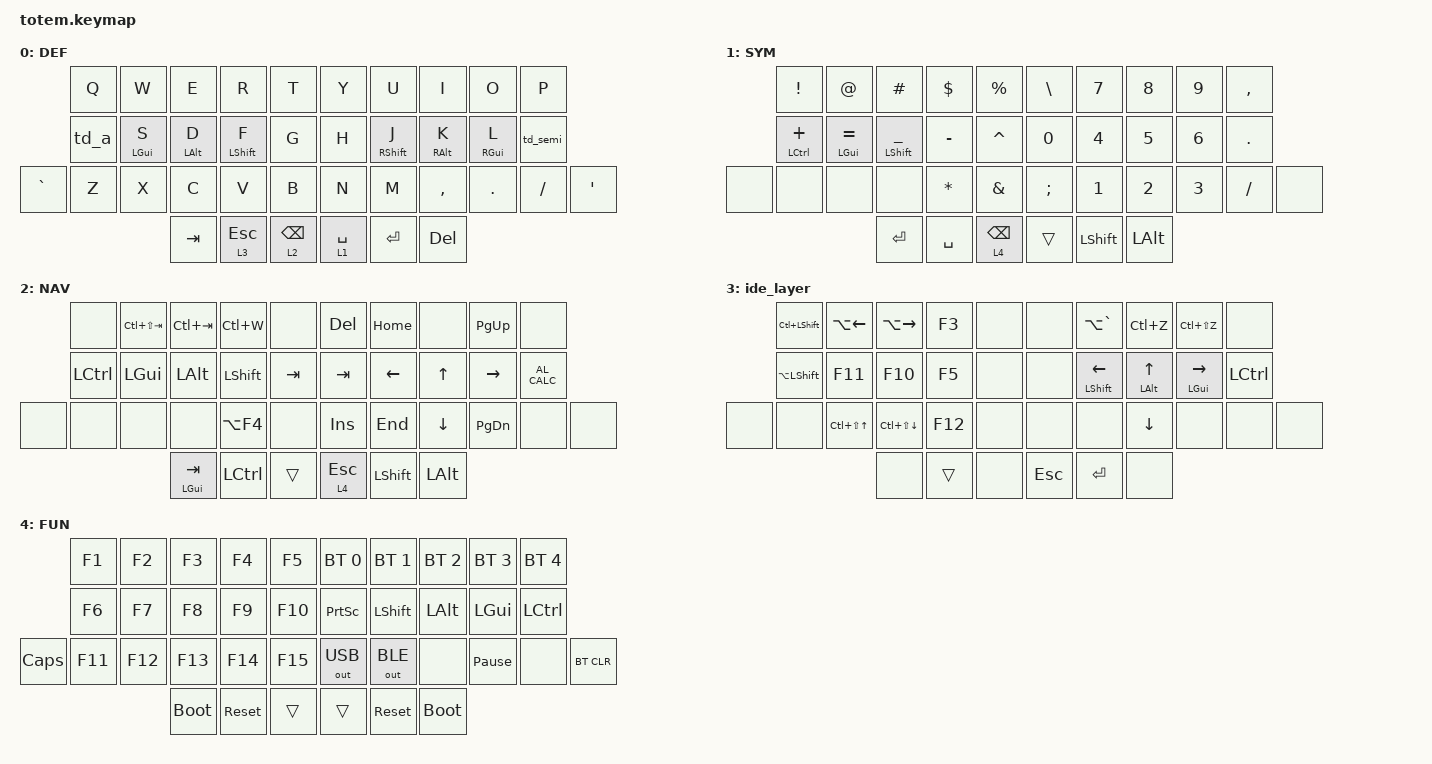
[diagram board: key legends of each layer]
/*
 * TOTEM 38-key ZMK keymap — C++ / C# / Visual Studio optimized
 *
 * ─── BEFORE BUILDING ────────────────────────────────────────────────────────
 * Add zmk-tri-state to your config/west.yml:
 *
 *   manifest:
 *     remotes:
 *       - name: zmkfirmware
 *         url-base: https://github.com/zmkfirmware
 *       - name: dhruvinsh
 *         url-base: https://github.com/dhruvinsh
 *     projects:
 *       - name: zmk
 *         remote: zmkfirmware
 *         revision: main
 *         import: app/west.yml
 *       - name: zmk-tri-state
 *         remote: dhruvinsh
 *         revision: main
 *     self:
 *       path: config
 *
 * ─── KEY POSITION REFERENCE ─────────────────────────────────────────────────
 *
 *   (used by hold-trigger-key-positions and combo key-positions)
 *
 *    0   1   2   3   4       5   6   7   8   9     <- top row (10)
 *   10  11  12  13  14  15  16  17  18  19         <- mid row inner (10)
 *  20                                        31    <- outer mid pinkies
 *       21  22  23  24  25  26  27  28  29  30     <- bot row (10)
 *               32  33  34      35  36  37         <- thumbs (6)
 *
 *    Q   W   E   R   T       Y   U   I   O   P
 *    A   S   D   F   G   H   J   K   L   ;
 *  `                                         '
 *        Z   X   C   V   B   N   M   ,   .   /
 *              Tab Esc Bsp     Spc Ent Del
 *
 * ─── LAYERS ─────────────────────────────────────────────────────────────────
 *   0 DEF  QWERTY + Home Row Mods + tap-dance on A and ;
 *   1 SYM  Symbols (L) + numpad (R)          — hold left-inner thumb (Spc)
 *   2 NAV  Window/tab mgmt (L) + arrows (R)  — hold right-inner thumb (Bsp)
 *   3 FUN  F-keys (L) + modifiers (R)        — hold SYM thumb while NAV active
 *                                               or hold NAV thumb while SYM active
 *
 * ─── HOME ROW MODS ──────────────────────────────────────────────────────────
 *   Left:   A=Ctrl  S=Gui  D=Alt  F=Shift
 *   Right:  J=Shift  K=Alt  L=Gui  ;=Ctrl
 *
 *   Timeless configuration (hold-trigger-on-release + require-prior-idle-ms):
 *   modifier only fires when an opposite-hand key is released while held,
 *   preventing misfires during fast same-hand rolls.
 *
 * ─── TAP-DANCE ───────────────────────────────────────────────────────────────
 *   A : tap = A (Ctrl HRM)   double-tap = ->  (C++ member/ptr access, lambda)
 *   ; : tap = ; (Ctrl HRM)   double-tap = ::  (C++ scope, C# namespaces)
 *
 *   Tap-dance tapping-term (200ms) < HRM tapping-term (280ms): ZMK resolves
 *   tap-dance first, so hold on A still activates Ctrl correctly.
 *
 * ─── ALT+TAB SWAPPER (zmk-tri-state) ────────────────────────────────────────
 *   Combo: Left+Right on NAV layer (positions 16+18, non-adjacent to avoid
 *   accidental trigger during normal arrow navigation).
 *
 *   Behavior:
 *     First combo press  — Alt ON + Tab  → opens Windows switcher
 *     Same combo again   — Tab           → cycles forward (Alt stays held)
 *     Left/Up/Right/Down — navigate switcher (ignored keys, Alt stays held)
 *     Any other key      — Alt OFF, then that key fires normally
 *
 *   This means: Esc cancels, Enter confirms — no extra macros needed.
 */

#include <behaviors.dtsi>
#include <dt-bindings/zmk/bt.h>
#include <dt-bindings/zmk/keys.h>
#include <dt-bindings/zmk/outputs.h>

// ── Layer indices ─────────────────────────────────────────────────────────────

#define DEF 0
#define SYM 1
#define NAV 2
#define FUN 3

// ── Tune built-in behaviors ───────────────────────────────────────────────────
// quick-tap-ms: tapping a layer-tap or mod-tap key twice quickly always sends
// the tap, even if the second tap is held. Makes Bspc/Space repeatable.

&lt { quick-tap-ms = <175>; };

&mt { quick-tap-ms = <175>; };

/ {
    // ════════════════════════════════════════════════════════════════════════════════
    // MACROS
    // ════════════════════════════════════════════════════════════════════════════════

    macros {
        // ->  C++ pointer member access, lambda return type

        m_arrow: m_arrow {
            compatible = "zmk,behavior-macro";
            #binding-cells = <0>;
            wait-ms = <0>;
            tap-ms = <10>;
            bindings = <&kp MINUS &kp GT>;
        };

        // ::  C++ scope resolution, C# fully-qualified names

        m_scope: m_scope {
            compatible = "zmk,behavior-macro";
            #binding-cells = <0>;
            wait-ms = <0>;
            tap-ms = <10>;
            bindings = <&kp COLON &kp COLON>;
        };

        // ==  equality operator

        m_eq: m_eq {
            compatible = "zmk,behavior-macro";
            #binding-cells = <0>;
            wait-ms = <0>;
            tap-ms = <10>;
            bindings = <&kp EQUAL &kp EQUAL>;
        };

        // !=  inequality operator

        m_neq: m_neq {
            compatible = "zmk,behavior-macro";
            #binding-cells = <0>;
            wait-ms = <0>;
            tap-ms = <10>;
            bindings = <&kp EXCL &kp EQUAL>;
        };
    };

    // ════════════════════════════════════════════════════════════════════════════════
    // BEHAVIORS
    // ════════════════════════════════════════════════════════════════════════════════

    behaviors {
        // ── Home Row Mod — LEFT hand ──────────────────────────────────────────
        // Modifier fires only when an opposite-hand (right-side) key is released
        // while this key is held. Safe for fast left-hand rolls.

        hml: hml {
            compatible = "zmk,behavior-hold-tap";
            #binding-cells = <2>;
            flavor = "balanced";
            tapping-term-ms = <280>;
            quick-tap-ms = <175>;
            require-prior-idle-ms = <150>;
            bindings = <&kp>, <&kp>;

            // Right side: top(5-9) mid(15-19) outer-R(31) bot(26-30) thumbs(35-37)

            hold-trigger-key-positions = <5 6 7 8 9 15 16 17 18 19 31 26 27 28 29 30 35 36 37>;
            hold-trigger-on-release;
        };

        // ── Home Row Mod — RIGHT hand ─────────────────────────────────────────
        // Modifier fires only when an opposite-hand (left-side) key is released
        // while this key is held. Safe for fast right-hand rolls.

        hmr: hmr {
            compatible = "zmk,behavior-hold-tap";
            #binding-cells = <2>;
            flavor = "balanced";
            tapping-term-ms = <280>;
            quick-tap-ms = <175>;
            require-prior-idle-ms = <150>;
            bindings = <&kp>, <&kp>;

            // Left side: top(0-4) mid(10-14) outer-L(20) bot(21-25) thumbs(32-34)

            hold-trigger-key-positions = <0 1 2 3 4 10 11 12 13 14 20 21 22 23 24 25 32 33 34>;
            hold-trigger-on-release;
        };

        // ── Tap-dance A ───────────────────────────────────────────────────────
        // Single tap → A  (hml: hold=Ctrl, tap=A)
        // Double-tap → -> (m_arrow macro)

        td_a: td_a {
            compatible = "zmk,behavior-tap-dance";
            #binding-cells = <0>;
            tapping-term-ms = <200>;
            bindings = <&hml LCTRL A>, <&m_arrow>;
        };

        // ── Tap-dance ; ───────────────────────────────────────────────────────
        // Single tap → ;  (hmr: hold=Ctrl, tap=;)
        // Double-tap → :: (m_scope macro)

        td_semi: td_semi {
            compatible = "zmk,behavior-tap-dance";
            #binding-cells = <0>;
            tapping-term-ms = <200>;
            bindings = <&hmr LCTRL SEMI>, <&m_scope>;
        };

        // ── Alt+Tab swapper (zmk-tri-state) ──────────────────────────────────
        // See header comment for full behavior description.
        // ignored-key-positions: Left(16) Up(17) Right(18) Down(28)

        swap: swap {
            compatible = "zmk,behavior-tri-state";
            #binding-cells = <0>;
            bindings = <&kt LALT>, <&kp TAB>, <&kt LALT>;

            ignored-key-positions = <16 17 18 28>;
        };
    };

    // ════════════════════════════════════════════════════════════════════════════════
    // COMBOS
    // ════════════════════════════════════════════════════════════════════════════════

    combos {
        compatible = "zmk,combos";

        // ── Brackets — top row, DEF layer ────────────────────────────────────
        // Adjacent pairs well away from HRM keys — negligible false-trigger risk.
        // Symmetric layout: opening brackets left (moving inward), closing right.
        //   Q+W=[ W+E={ E+R=(       U+I=) I+O=} O+P=]

        combo_lbkt {
            timeout-ms = <50>;
            key-positions = <1 2>;
            bindings = <&kp LBKT>;
            layers = <0>;
        };

        combo_lbrc {
            timeout-ms = <50>;
            key-positions = <24 23>;
            bindings = <&kp LBRC>;
            layers = <0>;
        };

        combo_lpar {
            timeout-ms = <50>;
            key-positions = <2 3>;
            bindings = <&kp LPAR>;
            layers = <0>;
        };

        combo_rpar {
            timeout-ms = <50>;
            key-positions = <6 7>;
            bindings = <&kp RPAR>;
            layers = <0>;
        };

        combo_rbrc {
            timeout-ms = <50>;
            key-positions = <27 28>;
            bindings = <&kp RBRC>;
            layers = <0>;
        };

        combo_rbkt {
            timeout-ms = <50>;
            key-positions = <8 7>;
            bindings = <&kp RBKT>;
            layers = <0>;
        };

        // ── Operator combos — bot row, DEF layer ─────────────────────────────
        //   M+,  → ==   (most frequent multi-char operator in C++/C#)
        //   ,+.  → !=

        combo_eq {
            timeout-ms = <50>;
            key-positions = <28 29>;
            bindings = <&m_eq>;
            layers = <0>;
        };

        combo_neq {
            timeout-ms = <50>;
            key-positions = <22 23>;
            bindings = <&m_neq>;
            layers = <0>;
        };

        // ── Alt+Tab swapper — NAV layer ───────────────────────────────────────
        // Left(16) + Right(18): non-adjacent, avoids accidental trigger.

        combo_swap {
            timeout-ms = <50>;
            key-positions = <16 18>;
            bindings = <&swap>;
            layers = <2>;
        };
    };

    // ════════════════════════════════════════════════════════════════════════════════
    // KEYMAP  —  38 bindings per layer, in position order 0-37
    // ════════════════════════════════════════════════════════════════════════════════

    keymap {
        compatible = "zmk,keymap";

        // ── DEF ──────────────────────────────────────────────────────────────────────

        def_layer {
            label = "DEF";
            bindings = <
           &kp Q  &kp W        &kp E        &kp R         &kp T         &kp Y        &kp U         &kp I        &kp O        &kp P
           &td_a  &hml LGUI S  &hml LALT D  &hml LSHFT F  &kp G         &kp H        &hmr RSHFT J  &hmr RALT K  &hmr RGUI L  &td_semi
&kp GRAVE  &kp Z  &kp X        &kp C        &kp V         &kp B         &kp N        &kp M         &kp COMMA    &kp DOT      &kp FSLH  &kp SQT
                               &kp TAB      &lt 3 ESCAPE  &lt 2 BSPC    &lt 1 SPACE  &kp RET       &kp DEL
            >;
        };

        sym_layer {
            label = "SYM";
            bindings = <
       &kp EXCL         &kp AT           &kp HASH           &kp DLLR   &kp PRCNT     &kp BSLH  &kp N7     &kp N8    &kp N9  &kp COMMA
       &hml LCTRL PLUS  &hml LGUI EQUAL  &hml LSHIFT UNDER  &kp MINUS  &kp CARET     &kp N0    &kp N4     &kp N5    &kp N6  &kp DOT
&none  &none            &none            &none              &kp STAR   &kp AMPS      &kp SEMI  &kp N1     &kp N2    &kp N3  &kp FSLH   &none
                                         &kp RET            &kp SPACE  &lt 4 BSPC    &trans    &kp LSHFT  &kp LALT
            >;
        };

        nav_layer {
            label = "NAV";
            bindings = <
       &none      &kp LC(LS(TAB))  &kp LC(TAB)   &kp LC(W)   &none      &kp DEL    &kp HOME   &none     &kp PG_UP  &none
       &kp LCTRL  &kp LGUI         &kp LALT      &kp LSHFT   &kp TAB    &kp TAB    &kp LEFT   &kp UP    &kp RIGHT  &kp C_AL_CALC
&none  &none      &none            &none         &kp LA(F4)  &none      &kp INS    &kp END    &kp DOWN  &kp PG_DN  &none          &none
                                   &mt LGUI TAB  &kp LCTRL   &trans     &lt 4 ESC  &kp LSHFT  &kp LALT
            >;
        };

        ide_layer {
            bindings = <
       &kp LC(LSHFT)       &kp LA(LEFT_ARROW)  &kp LA(RIGHT_ARROW)  &kp F3   &none    &none    &kp LA(GRAVE)     &kp LC(Z)     &kp LC(LS(Z))    &none
       &kp LA(LEFT_SHIFT)  &kp F11             &kp F10              &kp F5   &none    &none    &hml LSHIFT LEFT  &hml LALT UP  &hml LGUI RIGHT  &kp LCTRL
&none  &none               &kp LC(LS(UP))      &kp LC(LS(DOWN))     &kp F12  &none    &none    &none             &kp DOWN      &none            &none      &none
                                               &none                &trans   &none    &kp ESC  &kp RET           &none
            >;
        };

        fun_layer {
            label = "FUN";
            bindings = <
          &kp F1   &kp F2   &kp F3       &kp F4      &kp F5     &bt BT_SEL 0  &bt BT_SEL 1  &bt BT_SEL 2  &bt BT_SEL 3     &bt BT_SEL 4
          &kp F6   &kp F7   &kp F8       &kp F9      &kp F10    &kp PSCRN     &kp LSHFT     &kp LALT      &kp LGUI         &kp LCTRL
&kp CAPS  &kp F11  &kp F12  &kp F13      &kp F14     &kp F15    &out OUT_USB  &out OUT_BLE  &none         &kp PAUSE_BREAK  &none         &bt BT_CLR
                            &bootloader  &sys_reset  &trans     &trans        &sys_reset    &bootloader
            >;
        };
    };
};
